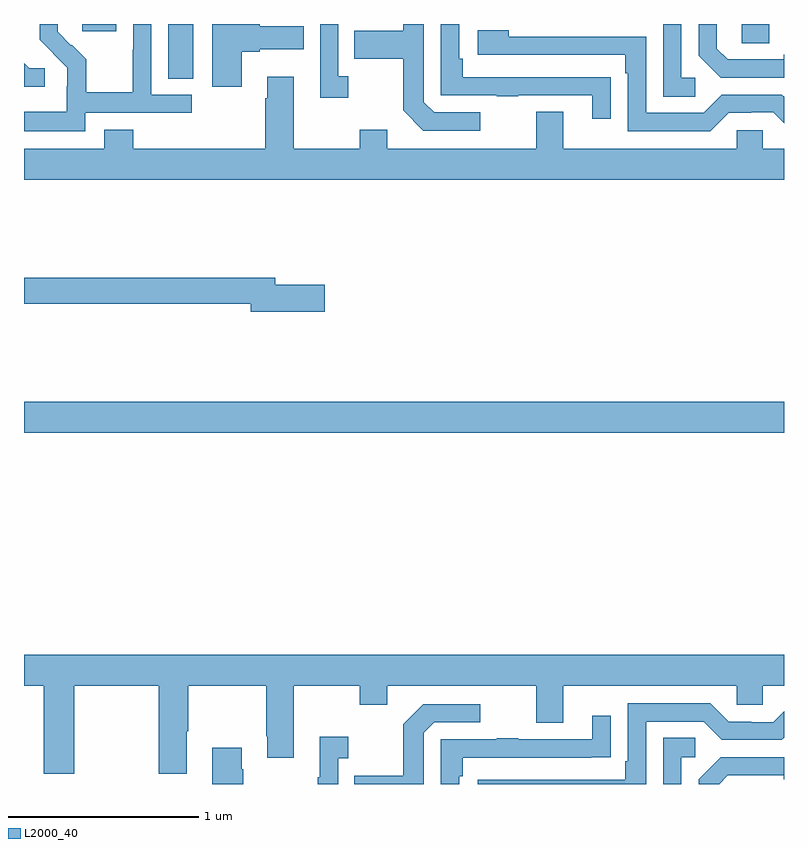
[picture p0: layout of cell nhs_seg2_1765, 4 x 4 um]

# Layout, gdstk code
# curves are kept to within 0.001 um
import gdstk
lib = gdstk.Library(unit=1e-6, precision=1e-09)
def R(c, l, rs):  # rectangles x0, y0, x1, y1
    for r in rs: c.add(gdstk.rectangle(r[:2], r[2:], *l))
def P(c, l, *ps):  # polygons
    for p in ps: c.add(gdstk.Polygon(p, *l))
L2000_40 = (2000, 40)

nhs_seg2_1765 = lib.new_cell('nhs_seg2_1765')
R(nhs_seg2_1765, L2000_40, [(203,635.648,207,635.812), (203.759,637.513,203.89,637.8), (206.778,637.699,206.923,637.8), (203.306,637.761,203.485,637.8)])
P(nhs_seg2_1765, L2000_40, [(205.402,637.335),(205.158,637.335),(205.104,637.389),(205.104,637.8),(204.996,637.8),(204.996,637.765),(204.739,637.765),(204.739,637.618),(204.996,637.618),(204.996,637.345),(205.101,637.239),(205.402,637.239)],
  [(207,637.637),(206.999,637.637),(206.999,637.614),(206.704,637.614),(206.647,637.671),(206.647,637.8),(206.55,637.8),(206.55,637.634),(206.666,637.518),(207,637.518)],
  [(204.706,637.526),(204.654,637.526),(204.654,637.8),(204.558,637.8),(204.558,637.413),(204.706,637.413)],
  [(203.322,637.332),(203.884,637.332),(203.884,637.428),(203.67,637.428),(203.67,637.8),(203.574,637.8),(203.574,637.664),(203.572,637.664),(203.572,637.441),(203.327,637.441),(203.327,637.615),(203.25,637.692),(203.247,637.689),(203.177,637.76),(203.177,637.8),(203.082,637.8),(203.082,637.718),(203.228,637.57),(203.228,637.473),(203.226,637.473),(203.226,637.339),(203,637.339),(203,637.235),(203.322,637.235)],
  [(206.533,637.518),(206.46,637.518),(206.46,637.8),(206.364,637.8),(206.364,637.417),(206.533,637.417)],
  [(204.145,637.655),(204.241,637.655),(204.241,637.667),(204.472,637.667),(204.472,637.789),(204.241,637.789),(204.241,637.8),(203.99,637.8),(203.99,637.47),(204.145,637.47)],
  [(206.087,637.52),(205.985,637.52),(205.985,637.521),(205.31,637.521),(205.31,637.618),(205.29,637.618),(205.29,637.8),(205.194,637.8),(205.194,637.425),(205.489,637.425),(205.489,637.42),(205.601,637.42),(205.601,637.425),(205.991,637.425),(205.991,637.302),(206.087,637.302)],
  [(206.709,637.332),(206.828,637.332),(206.828,637.335),(206.943,637.335),(207,637.278),(207,637.416),(206.988,637.428),(206.673,637.428),(206.577,637.332),(206.274,637.332),(206.274,637.734),(205.55,637.734),(205.55,637.768),(205.389,637.768),(205.389,637.638),(206.165,637.638),(206.165,637.541),(206.178,637.541),(206.178,637.236),(206.613,637.236)],
  [(203.11,637.566),(203.028,637.566),(203,637.594),(203,637.469),(203.11,637.469)],
  [(207,637.144),(206.889,637.144),(206.889,637.242),(206.751,637.242),(206.751,637.144),(205.837,637.144),(205.837,637.339),(205.697,637.339),(205.697,637.144),(204.913,637.144),(204.913,637.243),(204.766,637.243),(204.766,637.144),(204.421,637.144),(204.421,637.522),(204.281,637.522),(204.281,637.409),(204.269,637.409),(204.269,637.144),(203.576,637.144),(203.576,637.243),(203.423,637.243),(203.423,637.144),(203,637.144),(203,636.98),(207,636.98)],
  [(204.583,636.428),(204.322,636.428),(204.322,636.464),(203,636.464),(203,636.328),(204.194,636.328),(204.194,636.286),(204.583,636.286)],
  [(203,634.316),(203.105,634.316),(203.105,633.855),(203.265,633.855),(203.265,634.316),(203.71,634.316),(203.71,633.855),(203.857,633.855),(203.857,634.078),(203.865,634.078),(203.865,634.316),(204.274,634.316),(204.274,634.051),(204.281,634.051),(204.281,633.939),(204.421,633.939),(204.421,634.316),(204.766,634.316),(204.766,634.217),(204.913,634.217),(204.913,634.316),(205.697,634.316),(205.697,634.122),(205.837,634.122),(205.837,634.316),(206.751,634.316),(206.751,634.218),(206.889,634.218),(206.889,634.316),(207,634.316),(207,634.48),(203,634.48)],
  [(206.274,634.128),(206.577,634.128),(206.673,634.032),(206.988,634.032),(207,634.044),(207,634.182),(206.943,634.125),(206.828,634.125),(206.828,634.128),(206.709,634.128),(206.613,634.224),(206.178,634.224),(206.178,633.919),(206.165,633.919),(206.165,633.822),(205.389,633.822),(205.389,633.8),(206.274,633.8)],
  [(205.104,634.071),(205.158,634.125),(205.402,634.125),(205.402,634.221),(205.101,634.221),(204.996,634.115),(204.996,633.843),(204.739,633.843),(204.739,633.8),(205.104,633.8)],
  [(205.29,633.842),(205.31,633.842),(205.31,633.939),(205.985,633.939),(205.985,633.94),(206.087,633.94),(206.087,634.159),(205.991,634.159),(205.991,634.035),(205.601,634.035),(205.601,634.04),(205.489,634.04),(205.489,634.035),(205.194,634.035),(205.194,633.8),(205.29,633.8)],
  [(204.654,633.935),(204.706,633.935),(204.706,634.048),(204.557,634.048),(204.557,633.835),(204.546,633.835),(204.546,633.8),(204.654,633.8)],
  [(206.46,633.942),(206.533,633.942),(206.533,634.043),(206.364,634.043),(206.364,633.8),(206.46,633.8)],
  [(204.153,633.878),(204.145,633.878),(204.145,633.991),(203.99,633.991),(203.99,633.8),(204.153,633.8)],
  [(206.704,633.846),(206.999,633.846),(206.999,633.824),(207,633.824),(207,633.942),(206.666,633.942),(206.55,633.826),(206.55,633.8),(206.658,633.8)])

lib.write_gds('nhs_seg2_1765.gds')
